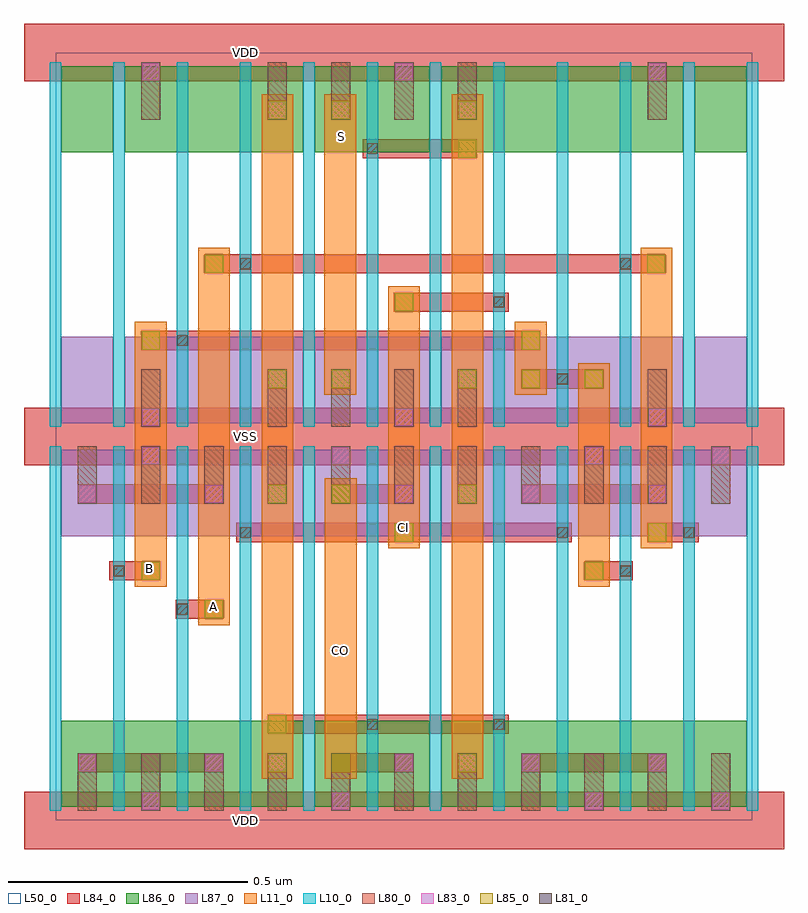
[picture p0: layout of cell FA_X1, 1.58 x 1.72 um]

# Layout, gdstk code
import gdstk
lib = gdstk.Library(unit=1e-6, precision=1e-09)
def R(c, l, rs):  # rectangles x0, y0, x1, y1
    for r in rs: c.add(gdstk.rectangle(r[:2], r[2:], *l))
def A(c, l, x, y, w, h, nx, ny, dx, dy):  # array of equal rectangles
    R(c, l, [(x+i*dx, y+j*dy, x+i*dx+w, y+j*dy+h) for i in range(nx) for j in range(ny)])
L10_0 = (10, 0)
L11_0 = (11, 0)
L50_0 = (50, 0)
L80_0 = (80, 0)
L81_0 = (81, 0)
L83_0 = (83, 0)
L84_0 = (84, 0)
L85_0 = (85, 0)
L86_0 = (86, 0)
L87_0 = (87, 0)

fa_x1 = lib.new_cell('FA_X1')
A(fa_x1, L10_0, -0.012, 0.02, 0.024, 0.76, 12, 2, 0.132, 0.8)
R(fa_x1, L11_0, [(0.429,0.087,0.495,1.513), (0.561,0.087,0.627,0.713), (0.825,0.087,0.891,1.513), (0.297,0.407,0.363,1.193), (0.165,0.487,0.231,1.039), (1.089,0.487,1.155,0.953), (0.693,0.567,0.759,1.113), (1.219,0.567,1.285,1.193), (0.56,0.887,0.626,1.513), (0.957,0.887,1.023,1.039)])
R(fa_x1, L50_0, [(0,0,1.452,1.6)])
A(fa_x1, L80_0, 0.046, 0.02, 0.04, 0.12, 11, 2, 0.132, 0.64)
A(fa_x1, L80_0, 0.442, 0.82, 0.04, 0.12, 4, 2, 0.132, 0.64)
R(fa_x1, L80_0, [(0.178,0.82,0.218,0.94), (1.234,0.82,1.274,0.94), (0.178,1.46,0.218,1.58), (1.234,1.46,1.274,1.58)])
R(fa_x1, L81_0, [(0.649,0.189,0.671,0.211), (0.913,0.189,0.935,0.211), (0.253,0.429,0.275,0.451), (0.121,0.509,0.143,0.531), (1.177,0.509,1.199,0.531), (0.385,0.589,0.407,0.611), (1.045,0.589,1.067,0.611), (1.309,0.589,1.331,0.611), (1.045,0.909,1.067,0.931), (0.253,0.989,0.275,1.011), (0.913,1.069,0.935,1.091), (0.385,1.149,0.407,1.171), (1.177,1.149,1.199,1.171), (0.649,1.389,0.671,1.411)])
A(fa_x1, L83_0, 0.708, 0.102, 0.036, 0.036, 3, 2, 0.132, 0.56)
A(fa_x1, L83_0, 0.18, 0.822, 0.036, 0.036, 3, 2, 0.528, 0.72)
R(fa_x1, L83_0, [(0.18,0.022,0.216,0.058), (0.576,0.022,0.612,0.058), (1.104,0.022,1.14,0.058), (1.368,0.022,1.404,0.058), (0.048,0.102,0.084,0.138), (0.312,0.102,0.348,0.138), (0.444,0.102,0.48,0.138), (1.236,0.102,1.272,0.138), (0.048,0.662,0.084,0.698), (0.312,0.662,0.348,0.698), (0.444,0.662,0.48,0.698), (1.236,0.662,1.272,0.698), (0.18,0.742,0.216,0.778), (0.576,0.742,0.612,0.778), (1.104,0.742,1.14,0.778), (1.368,0.742,1.404,0.778), (0.444,0.902,0.48,0.938), (0.576,0.902,0.612,0.938), (0.84,0.902,0.876,0.938), (0.444,1.462,0.48,1.498), (0.576,1.462,0.612,1.498), (0.84,1.462,0.876,1.498)])
A(fa_x1, L84_0, -0.066, -0.06, 1.584, 0.12, 1, 3, 0, 0.8)
R(fa_x1, L84_0, [(0.046,0.1,0.35,0.14), (0.442,0.1,0.482,0.14), (0.574,0.1,0.746,0.14), (0.838,0.1,0.878,0.14), (0.97,0.1,1.274,0.14), (0.442,0.18,0.944,0.22), (0.25,0.42,0.35,0.46), (0.112,0.5,0.218,0.54), (1.102,0.5,1.203,0.54), (0.376,0.58,1.076,0.62), (1.233,0.58,1.34,0.62), (0.046,0.66,0.35,0.7), (0.31,0.66,0.35,0.7), (0.442,0.66,0.482,0.7), (0.574,0.66,0.746,0.7), (0.838,0.66,0.878,0.7), (0.97,0.66,1.274,0.7), (0.442,0.9,0.482,0.94), (0.574,0.9,0.614,0.94), (0.838,0.9,0.878,0.94), (0.97,0.9,1.142,0.94), (0.178,0.98,1.01,1.02), (0.705,1.06,0.944,1.1), (0.31,1.14,1.272,1.18), (0.64,1.38,0.878,1.42), (0.442,1.46,0.482,1.5), (0.574,1.46,0.614,1.5), (0.838,1.46,0.878,1.5)])
A(fa_x1, L85_0, 0.839, 0.901, 0.038, 0.038, 3, 1, 0.132, 0)
R(fa_x1, L85_0, [(0.443,0.101,0.481,0.139), (0.575,0.101,0.613,0.139), (0.839,0.101,0.877,0.139), (0.443,0.181,0.481,0.219), (0.311,0.421,0.349,0.459), (0.179,0.501,0.217,0.539), (1.103,0.501,1.141,0.539), (0.707,0.581,0.745,0.619), (1.235,0.581,1.273,0.619), (0.443,0.661,0.481,0.699), (0.575,0.661,0.613,0.699), (0.839,0.661,0.877,0.699), (0.443,0.901,0.481,0.939), (0.575,0.901,0.613,0.939), (0.179,0.981,0.217,1.019), (0.971,0.981,1.009,1.019), (0.707,1.061,0.745,1.099), (0.311,1.141,0.349,1.179), (1.233,1.141,1.271,1.179), (0.839,1.381,0.877,1.419), (0.443,1.461,0.481,1.499), (0.575,1.461,0.613,1.499), (0.839,1.461,0.877,1.499)])
R(fa_x1, L86_0, [(0.012,0.028,0.516,0.208), (0.54,0.028,0.78,0.208), (0.804,0.028,1.44,0.208), (0.012,1.392,0.12,1.572), (0.144,1.392,0.516,1.572), (0.54,1.392,0.78,1.572), (0.804,1.392,1.308,1.572), (1.332,1.392,1.44,1.572)])
R(fa_x1, L87_0, [(0.012,0.592,0.516,0.772), (0.54,0.592,0.78,0.772), (0.804,0.592,1.44,0.772), (0.012,0.828,0.12,1.008), (0.144,0.828,0.516,1.008), (0.54,0.828,0.78,1.008), (0.804,0.828,1.308,1.008), (1.332,0.828,1.44,1.008)])
fa_x1.add(gdstk.Label('VSS', (0.396,0.8), layer=88, texttype=0))
fa_x1.add(gdstk.Label('VDD', (0.396,0), layer=88, texttype=0))
fa_x1.add(gdstk.Label('VDD', (0.396,1.6), layer=88, texttype=0))
fa_x1.add(gdstk.Label('CI', (0.725,0.61), layer=31, texttype=0))
fa_x1.add(gdstk.Label('S', (0.595,1.426), layer=31, texttype=0))
fa_x1.add(gdstk.Label('B', (0.196,0.524), layer=31, texttype=0))
fa_x1.add(gdstk.Label('A', (0.329,0.445), layer=31, texttype=0))
fa_x1.add(gdstk.Label('CO', (0.594,0.354), layer=31, texttype=0))

lib.write_gds('FA_X1.gds')
